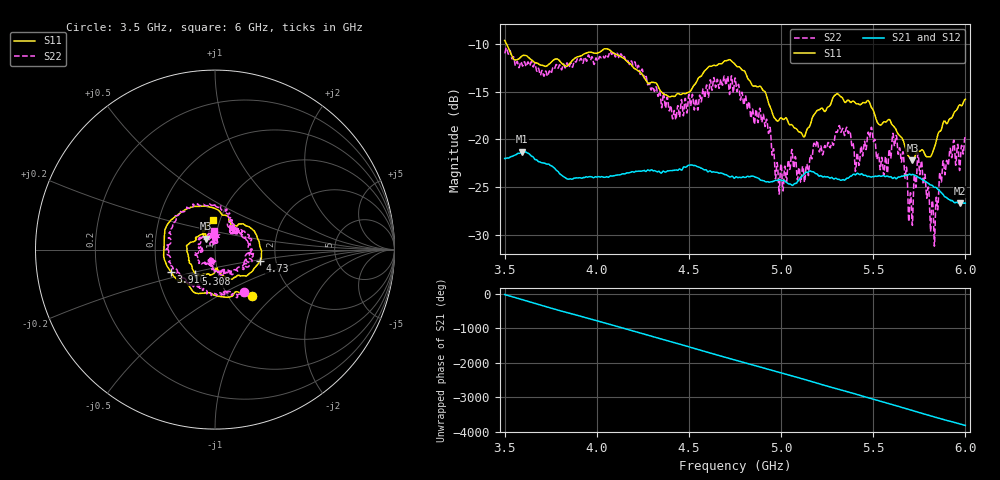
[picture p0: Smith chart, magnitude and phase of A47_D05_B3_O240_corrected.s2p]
! Created with skrf 1.9.0 (http://scikit-rf.org).
# Hz S RI R 50.0
!freq ReS11 ImS11 ReS21 ImS21 ReS12 ImS12 ReS22 ImS22
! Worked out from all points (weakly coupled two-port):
!   1601 points, 3.5 GHz to 6 GHz, reference 50 ohm
!   highest |S21| = -21.29 dB at 3.595 GHz (marker M1); lowest = -26.7 dB at 5.969 GHz (marker M2)
!   lowest |S11| = -22.2 dB at 5.713 GHz (marker M3), VSWR 1.17, Z = 45 + j5.45 ohm
!   |S11| at or under -10 dB: 3.512 GHz to end of sweep
!   |S22| runs from -31.2 to -10.3 dB; largest |S21 - S12| = 0.0011
!   S11 on the Smith chart (normalised r, x): 3.5 GHz: 1.27, -0.75; 3.916 GHz: 0.59, -0.16; 4.73 GHz: 1.66, -0.22; 5.308 GHz: 0.78, -0.22; 6 GHz: 0.93, +0.31
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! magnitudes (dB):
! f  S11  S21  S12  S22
! 3.5 GHz  -9.6  -22.0  -22.0  -10.9
! 3.595 GHz  -11.2  -21.3  -21.3  -12.2
! 3.916 GHz  -11.2  -24.1  -24.0  -11.5
! 3.917 GHz  -11.2  -24.1  -24.0  -11.5
! 4.139 GHz  -11.4  -23.6  -23.6  -11.3
! 4.334 GHz  -14.5  -23.4  -23.3  -15.4
! 4.42 GHz  -15.5  -23.2  -23.2  -16.9
! 4.73 GHz  -11.7  -23.9  -23.8  -13.3
! 4.75 GHz  -12.1  -24.0  -23.9  -13.5
! 4.93 GHz  -16.0  -24.4  -24.4  -19.1
! 4.981 GHz  -18.1  -24.3  -24.3  -22.8
! 5.167 GHz  -17.9  -23.4  -23.3  -22.0
! 5.308 GHz  -15.2  -24.2  -24.1  -19.0
! 5.412 GHz  -16.3  -23.6  -23.5  -21.4
! 5.584 GHz  -17.9  -23.9  -23.9  -21.4
! 5.617 GHz  -18.7  -24.0  -24.0  -20.6
! 5.713 GHz  -22.2  -23.7  -23.6  -29.0
! 5.752 GHz  -21.3  -24.0  -24.0  -23.6
! 5.822 GHz  -21.4  -24.9  -24.8  -26.5
! 5.87 GHz  -18.9  -25.6  -25.5  -24.5
! 5.969 GHz  -16.4  -26.7  -26.7  -23.3
! 6 GHz  -15.8  -26.7  -26.6  -19.8
